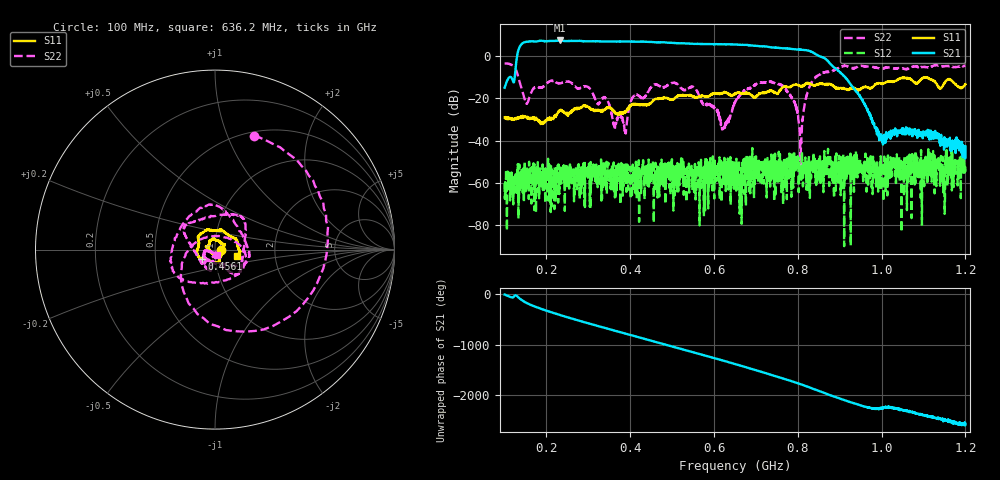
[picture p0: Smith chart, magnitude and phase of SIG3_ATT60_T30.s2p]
# Hz S DB R 50
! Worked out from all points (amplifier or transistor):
!   1601 points, 100 MHz to 1.2 GHz, reference 50 ohm
!   highest |S21| = 7.5 dB at 232 MHz (marker M1)
!   |S21| within 3 dB of that: 135.9 MHz to 728.5 MHz (592.6 MHz wide, 137 % of centre)
!   unconditionally stable (mu >= 1): start of sweep to end of sweep
!   at 282.9 MHz: K = 379.87, MAG = 7.4 dB, |S12| = -65.2 dB
!   at 650 MHz: K = 127.57, MAG = 5.7 dB, |S12| = -53.9 dB
!   at 1.2 GHz: K = 14422.02, MAG = -40.7 dB, |S12| = -50.7 dB
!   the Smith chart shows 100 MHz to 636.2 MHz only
!   S11 on the Smith chart (normalised r, x): 100 MHz: 1.07, -0.01; 456.1 MHz: 0.86, -0.09; 636.2 MHz: 1.27, -0.10
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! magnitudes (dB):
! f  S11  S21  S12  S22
! 100 MHz  -28.9  -15.0  -60.3  -3.5
! 124.8 MHz  -29.6  -8.8  -57.0  -5.4
! 135.8 MHz  -29.0  4.4  -63.5  -12.1
! 152.2 MHz  -28.7  6.9  -56.3  -22.5
! 232 MHz  -25.6  7.5  -59.0  -12.8
! 283.6 MHz  -24.4  7.2  -51.5  -14.8
! 387.4 MHz  -27.0  7.0  -53.3  -35.2
! 406.6 MHz  -22.6  7.0  -55.1  -19.3
! 456.1 MHz  -20.8  6.7  -79.1  -13.6
! 467.1 MHz  -20.3  6.6  -52.5  -13.8
! 550.3 MHz  -19.1  5.9  -58.2  -14.5
! 620.4 MHz  -17.4  5.7  -54.5  -34.5
! 636.2 MHz  -17.9  5.6  -57.9  -30.4
! 650 MHz  -18.0  5.6  -53.9  -21.5
! 759.3 MHz  -15.9  3.9  -58.4  -13.7
! 790.9 MHz  -13.5  3.3  -44.9  -21.2
! 806.8 MHz  -14.2  3.2  -53.8  -55.5
! 833.6 MHz  -13.5  2.1  -49.9  -12.0
! 918.1 MHz  -15.9  -11.1  -54.5  -4.8
! 999.2 MHz  -13.1  -38.0  -51.7  -5.8
! 1.017 GHz  -12.1  -37.1  -55.4  -5.3
! 1.2 GHz  -13.2  -42.8  -50.7  -4.5
